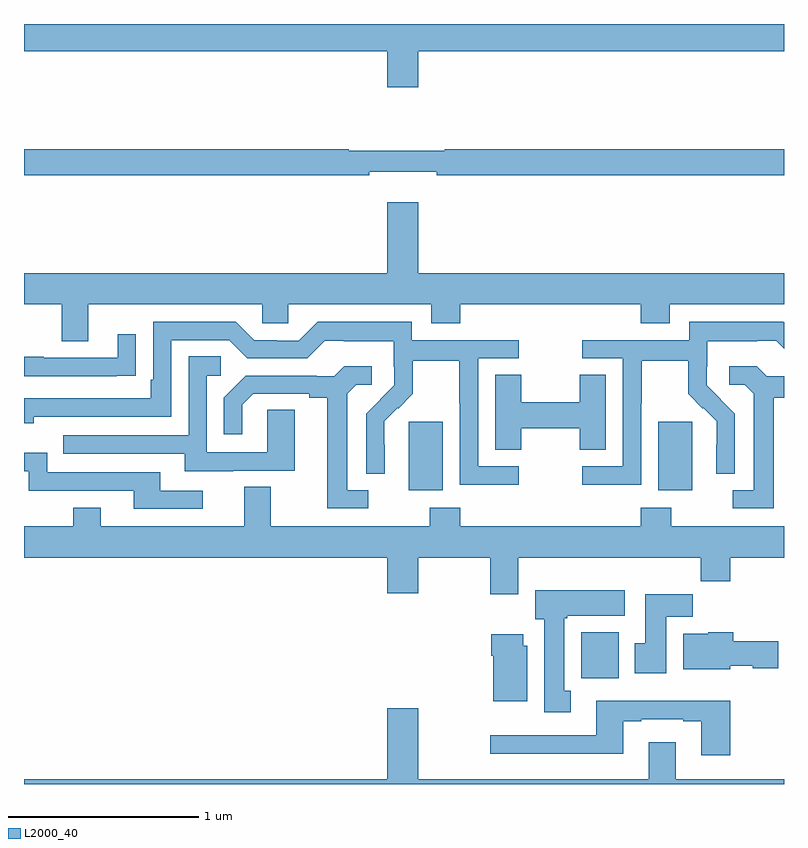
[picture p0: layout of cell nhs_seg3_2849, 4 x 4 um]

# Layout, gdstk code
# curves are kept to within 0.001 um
import gdstk
lib = gdstk.Library(unit=1e-6, precision=1e-09)
def R(c, l, rs):  # rectangles x0, y0, x1, y1
    for r in rs: c.add(gdstk.rectangle(r[:2], r[2:], *l))
def P(c, l, *ps):  # polygons
    for p in ps: c.add(gdstk.Polygon(p, *l))
L2000_40 = (2000, 40)

nhs_seg3_2849 = lib.new_cell('nhs_seg3_2849')
R(nhs_seg3_2849, L2000_40, [(261.932,690.956,262.129,691.198), (261.026,691.946,261.205,692.307), (262.337,691.946,262.516,692.307)])
P(nhs_seg3_2849, L2000_40, [(261.076,694.256),(263,694.256),(263,694.4),(259,694.4),(259,694.256),(260.912,694.256),(260.912,694.068),(261.076,694.068)],
  [(260.816,693.623),(261.172,693.623),(261.172,693.604),(263,693.604),(263,693.74),(261.214,693.74),(261.214,693.733),(260.708,693.733),(260.708,693.74),(259,693.74),(259,693.604),(260.816,693.604)],
  [(259.339,692.924),(260.253,692.924),(260.253,692.826),(260.391,692.826),(260.391,692.924),(261.143,692.924),(261.143,692.825),(261.296,692.825),(261.296,692.924),(262.247,692.924),(262.247,692.825),(262.399,692.825),(262.399,692.924),(263,692.924),(263,693.088),(261.076,693.088),(261.076,693.463),(260.912,693.463),(260.912,693.088),(259,693.088),(259,692.924),(259.199,692.924),(259.199,692.73),(259.339,692.73)],
  [(261.604,692.073),(261.39,692.073),(261.39,692.64),(261.604,692.64),(261.604,692.736),(261.042,692.736),(261.042,692.833),(260.545,692.833),(260.445,692.733),(260.33,692.733),(260.33,692.736),(260.211,692.736),(260.115,692.832),(259.68,692.832),(259.68,692.527),(259.667,692.527),(259.667,692.43),(259,692.43),(259,692.3),(259.052,692.3),(259.052,692.334),(259.776,692.334),(259.776,692.736),(260.079,692.736),(260.175,692.64),(260.49,692.64),(260.583,692.733),(260.683,692.733),(260.683,692.729),(260.946,692.729),(260.946,692.595),(260.948,692.595),(260.948,692.498),(260.802,692.35),(260.802,692.032),(260.898,692.032),(260.897,692.309),(260.967,692.379),(260.97,692.376),(261.047,692.453),(261.047,692.628),(261.291,692.628),(261.291,692.404),(261.294,692.404),(261.294,691.975),(261.604,691.975)],
  [(262.248,692.404),(262.251,692.404),(262.251,692.628),(262.495,692.628),(262.495,692.453),(262.572,692.376),(262.575,692.379),(262.646,692.309),(262.646,692.186),(262.644,692.186),(262.644,692.032),(262.74,692.032),(262.74,692.35),(262.594,692.498),(262.594,692.595),(262.596,692.595),(262.596,692.729),(262.859,692.729),(262.859,692.733),(262.959,692.733),(263,692.692),(263,692.83),(262.997,692.833),(262.5,692.833),(262.5,692.736),(261.939,692.736),(261.939,692.64),(262.152,692.64),(262.152,692.073),(261.939,692.073),(261.939,691.975),(262.248,691.975)],
  [(259.487,692.548),(259.589,692.548),(259.589,692.767),(259.493,692.767),(259.493,692.643),(259.103,692.643),(259.103,692.648),(259,692.648),(259,692.547),(259.487,692.547)],
  [(260.101,692.049),(260.425,692.049),(260.425,692.369),(260.28,692.369),(260.28,692.145),(259.962,692.145),(259.962,692.55),(260.035,692.55),(260.035,692.651),(259.866,692.651),(259.866,692.235),(259.207,692.235),(259.207,692.139),(259.847,692.139),(259.847,692.045),(260.101,692.045)],
  [(262.945,692.432),(263,692.432),(263,692.547),(262.908,692.547),(262.856,692.599),(262.713,692.599),(262.713,692.502),(262.794,692.502),(262.841,692.455),(262.841,691.947),(262.731,691.947),(262.731,691.851),(262.945,691.851)],
  [(260.812,691.947),(260.701,691.947),(260.701,692.455),(260.748,692.502),(260.83,692.502),(260.83,692.599),(260.686,692.599),(260.634,692.547),(260.54,692.547),(260.54,692.55),(260.168,692.55),(260.052,692.434),(260.052,692.241),(260.149,692.241),(260.149,692.397),(260.206,692.454),(260.501,692.454),(260.501,692.432),(260.597,692.432),(260.597,691.851),(260.812,691.851)],
  [(261.618,692.272),(261.925,692.272),(261.925,692.158),(262.063,692.158),(262.063,692.555),(261.925,692.555),(261.925,692.408),(261.618,692.408),(261.618,692.555),(261.479,692.555),(261.479,692.158),(261.618,692.158)],
  [(259.942,691.944),(259.717,691.944),(259.717,692.04),(259.122,692.04),(259.122,692.143),(259,692.143),(259,692.046),(259.026,692.046),(259.026,691.944),(259.577,691.944),(259.577,691.848),(259.942,691.848)],
  [(261.601,691.592),(262.561,691.592),(262.561,691.468),(262.718,691.468),(262.718,691.592),(263,691.592),(263,691.756),(262.407,691.756),(262.407,691.855),(262.247,691.855),(262.247,691.756),(261.296,691.756),(261.296,691.855),(261.136,691.855),(261.136,691.756),(260.299,691.756),(260.299,691.964),(260.159,691.964),(260.159,691.756),(259.405,691.756),(259.405,691.855),(259.258,691.855),(259.258,691.756),(259,691.756),(259,691.592),(260.912,691.592),(260.912,691.404),(261.076,691.404),(261.076,691.592),(261.454,691.592),(261.454,691.398),(261.601,691.398)],
  [(261.877,690.89),(261.844,690.89),(261.844,691.273),(261.858,691.273),(261.858,691.286),(262.162,691.286),(262.162,691.42),(261.692,691.42),(261.692,691.266),(261.737,691.266),(261.737,690.777),(261.877,690.777)],
  [(262.381,691.28),(262.52,691.28),(262.52,691.399),(262.271,691.399),(262.271,691.14),(262.214,691.14),(262.214,690.984),(262.381,690.984)],
  [(262.716,691.022),(262.836,691.022),(262.836,691.01),(262.969,691.01),(262.969,691.152),(262.733,691.152),(262.733,691.198),(262.602,691.198),(262.602,691.192),(262.469,691.192),(262.469,691.004),(262.716,691.004)],
  [(261.649,691.128),(261.628,691.128),(261.628,691.189),(261.458,691.189),(261.458,691.076),(261.47,691.076),(261.47,690.836),(261.649,690.836)],
  [(262.718,690.838),(262.013,690.838),(262.013,690.657),(261.453,690.657),(261.453,690.56),(262.153,690.56),(262.153,690.729),(262.249,690.729),(262.249,690.741),(262.469,690.741),(262.469,690.729),(262.565,690.729),(262.565,690.552),(262.718,690.552)],
  [(263,690.424),(262.429,690.424),(262.429,690.619),(262.289,690.619),(262.289,690.424),(261.076,690.424),(261.076,690.799),(260.912,690.799),(260.912,690.424),(259,690.424),(259,690.4),(263,690.4)])

lib.write_gds('nhs_seg3_2849.gds')
